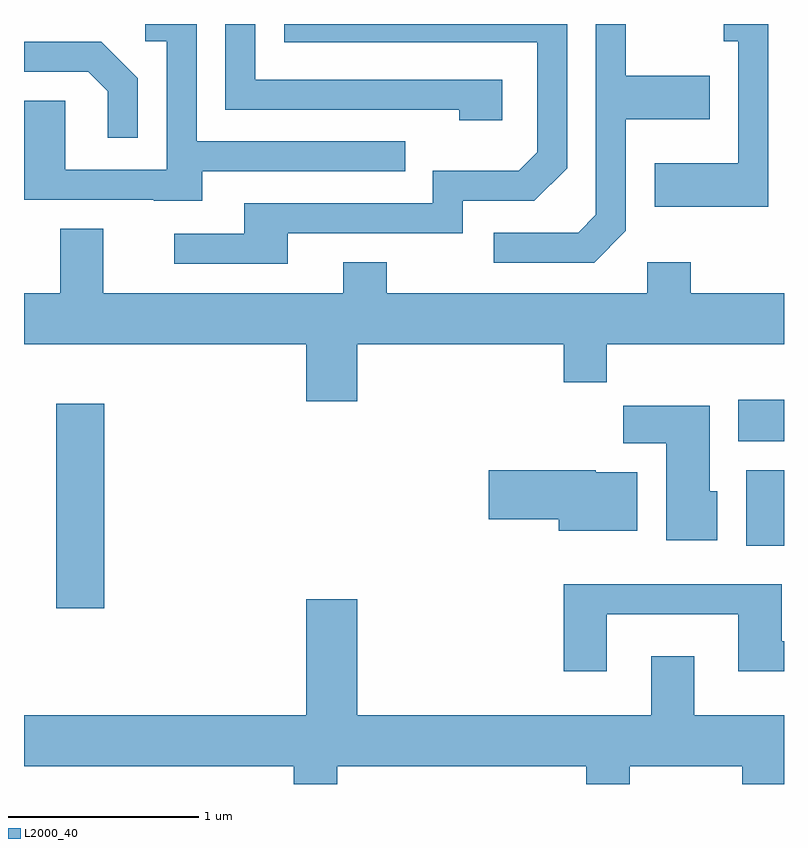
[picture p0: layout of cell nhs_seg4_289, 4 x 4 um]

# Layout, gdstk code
import gdstk
lib = gdstk.Library(unit=1e-6, precision=1e-09)
def R(c, l, rs):  # rectangles x0, y0, x1, y1
    for r in rs: c.add(gdstk.rectangle(r[:2], r[2:], *l))
def P(c, l, *ps):  # polygons
    for p in ps: c.add(gdstk.Polygon(p, *l))
L2000_40 = (2000, 40)

nhs_seg4_289 = lib.new_cell('nhs_seg4_289')
R(nhs_seg4_289, L2000_40, [(193.781,1288.906,194.034,1289.984), (197.411,1289.236,197.611,1289.634), (197.371,1289.786,197.611,1290.004)])
P(nhs_seg4_289, L2000_40, [(197.529,1291.982),(197.293,1291.982),(197.293,1291.891),(197.371,1291.891),(197.371,1291.249),(196.931,1291.249),(196.931,1291.021),(197.529,1291.021)],
  [(194.999,1290.881),(195.919,1290.881),(195.919,1291.051),(196.297,1291.051),(196.469,1291.224),(196.469,1291.982),(194.981,1291.982),(194.981,1291.886),(196.311,1291.886),(196.311,1291.307),(196.214,1291.209),(195.761,1291.209),(195.761,1291.039),(194.771,1291.039),(194.771,1290.879),(194.403,1290.879),(194.403,1290.721),(194.999,1290.721)],
  [(194.549,1291.206),(195.618,1291.206),(195.618,1291.364),(194.519,1291.364),(194.519,1291.982),(194.248,1291.982),(194.248,1291.891),(194.361,1291.891),(194.361,1291.214),(193.829,1291.214),(193.829,1291.579),(193.611,1291.579),(193.611,1291.056),(194.295,1291.056),(194.295,1291.051),(194.549,1291.051)],
  [(196.779,1290.894),(196.779,1291.481),(197.219,1291.481),(197.219,1291.709),(196.779,1291.709),(196.779,1291.982),(196.621,1291.982),(196.621,1290.977),(196.529,1290.884),(196.083,1290.884),(196.083,1290.726),(196.612,1290.726)],
  [(196.129,1291.689),(194.829,1291.689),(194.829,1291.982),(194.671,1291.982),(194.671,1291.531),(195.901,1291.531),(195.901,1291.476),(196.129,1291.476)],
  [(194.209,1291.697),(194.017,1291.889),(193.611,1291.889),(193.611,1291.731),(193.949,1291.731),(194.051,1291.629),(194.051,1291.383),(194.209,1291.383)],
  [(195.364,1290.296),(196.451,1290.296),(196.451,1290.096),(196.679,1290.096),(196.679,1290.296),(197.611,1290.296),(197.611,1290.564),(197.119,1290.564),(197.119,1290.729),(196.891,1290.729),(196.891,1290.564),(195.519,1290.564),(195.519,1290.729),(195.291,1290.729),(195.291,1290.564),(194.029,1290.564),(194.029,1290.904),(193.801,1290.904),(193.801,1290.564),(193.611,1290.564),(193.611,1290.296),(195.096,1290.296),(195.096,1289.996),(195.364,1289.996)],
  [(197.259,1289.524),(197.219,1289.524),(197.219,1289.974),(196.766,1289.974),(196.766,1289.776),(196.991,1289.776),(196.991,1289.266),(197.259,1289.266)],
  [(196.839,1289.624),(196.62,1289.624),(196.62,1289.634),(196.056,1289.634),(196.056,1289.376),(196.426,1289.376),(196.426,1289.316),(196.839,1289.316)],
  [(196.679,1288.876),(197.371,1288.876),(197.371,1288.576),(197.611,1288.576),(197.611,1288.734),(197.599,1288.734),(197.599,1289.034),(196.451,1289.034),(196.451,1288.576),(196.679,1288.576)],
  [(195.259,1288.076),(196.571,1288.076),(196.571,1287.982),(196.799,1287.982),(196.799,1288.076),(197.391,1288.076),(197.391,1287.982),(197.611,1287.982),(197.611,1288.344),(197.139,1288.344),(197.139,1288.654),(196.911,1288.654),(196.911,1288.344),(195.364,1288.344),(195.364,1288.954),(195.096,1288.954),(195.096,1288.344),(193.611,1288.344),(193.611,1288.076),(195.031,1288.076),(195.031,1287.982),(195.259,1287.982)])

lib.write_gds('nhs_seg4_289.gds')
